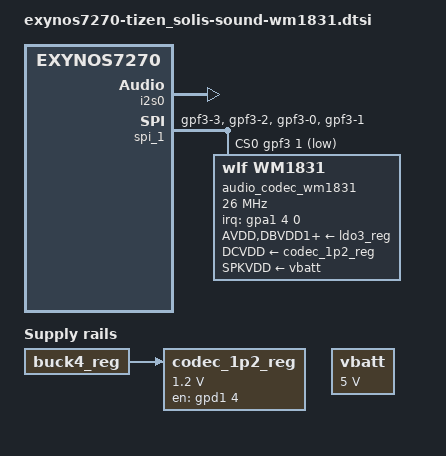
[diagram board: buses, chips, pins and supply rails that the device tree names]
/*
 * Samsung's Exynos7270 SoC sound device tree source
 *
 * Copyright (c) 2016 Samsung Electronics Co., Ltd.
 *		http://www.samsung.com
 *
 * This program is free software; you can redistribute it and/or modify
 * it under the terms of the GNU General Public License version 2 as
 * published by the Free Software Foundation.
*/

/ {
	s1403x: s1403x@14880000 {
		pinctrl-names = "default", "idle";
		pinctrl-0 = <&i2s_pmic_bus>;
		pinctrl-1 = <&i2s_pmic_bus_idle> ;
		status = "okay";
	};

	i2s0: i2s@148A0000 {
		samsung,amixer = <0>;
		status = "okay";
	};

	eax: eax {
		status = "disabled";
	};

	vbatt: fixedregulator@0 {
		compatible = "regulator-fixed";
		regulator-name = "VBATT";
		regulator-min-microvolt = <5000000>;
		regulator-max-microvolt = <5000000>;
		regulator-boot-on;
		regulator-always-on;
	};

	pinctrl@139B0000 {
		codec_rst: codec-rst {
			samsung,pins = "gpf1-0";
			samsung,pin-function = <1>; /* output */
			samsung,pin-pud = <3>; /* pull-up */
			samsung,pin-drv = <0>;
			samsung,pin-con-pdn = <1>; /* output1 pdn */
			samsung,pin-pud-pdn = <3>; /* pull-up pdn */
		};
		codec_1p2: codec-1p2 {
			samsung,pins = "gpd1-4";
			samsung,pin-function = <1>; /* output */
			samsung,pin-pud = <0>;
			samsung,pin-drv = <0>;
			samsung,pin-con-pdn = <3>; /* prev state during powerdown */
			samsung,pin-pud-pdn = <0>; /* no pull during powerdown */
		};
		codec_mclk1: codec-mclk1 {
			samsung,pins = "gpe0-0";
			samsung,pin-function = <2>;
			samsung,pin-pud = <0>;
			samsung,pin-drv = <2>;
			samsung,pin-con-pdn = <3>; /* prev state during powerdown */
			samsung,pin-pud-pdn = <0>; /* no pull during powerdown */
		};
		spi1_bus: spi1-bus {
			samsung,pins = "gpf3-3", "gpf3-2", "gpf3-0";
			samsung,pin-function = <2>; /* func */
			samsung,pin-pud = <3>; /* pull-up */
			samsung,pin-drv = <0>;
			samsung,pin-con-pdn = <2>; /* input during powerdown */
			samsung,pin-pud-pdn = <1>; /* pull-down during powerdown */
		};
		spi1_cs_0: spi1-cs-0 {
			samsung,pins = "gpf3-1";
			samsung,pin-function = <1>; /* output */
			samsung,pin-pud = <3>; /* pull-up */
			samsung,pin-drv = <0>;
			samsung,pin-con-pdn = <2>; /* input during powerdown */
			samsung,pin-pud-pdn = <1>; /* pull-down during powerdown */
		};

	};

	pinctrl@139F0000 {
		codec_irq: codec-irq {
			samsung,pins = "gpa1-4";
			samsung,pin-function = <0xf>; /* eint */
			samsung,pin-pud = <3>; /* pull-up */
		};
	};

	codec_1p2_reg: vdd_codec_1p2 {
		compatible = "regulator-fixed";
		regulator-name = "VDD_CODEC_1P2";
		regulator-min-microvolt = <1200000>;
		regulator-max-microvolt = <1200000>;
		gpio = <&gpd1 4 0>;
		startup-delay-us = <5000>;
		enable-active-high;
		vin-supply = <&buck4_reg>;
	};

	spi_1: spi@13900000 {
		status = "okay";
		cs-gpios = <&gpf3 1 1>;

		pinctrl-names = "default";
		pinctrl-0 = <&spi1_bus &spi1_cs_0>;

		audio_codec_wm1831: wm1831@0 {
			spi-max-frequency = <26000000>;

			compatible = "wlf,wm1831";
			reg = <0x0>;
			interrupts = <4 0 0>;
			interrupt-parent = <&gpa1>;
			interrupt-controller;
			#interrupt-cells = <2>;
			gpio-controller;
			#gpio-cells = <2>;

			pinctrl-names = "default";
			pinctrl-0 = <&codec_irq &codec_rst &codec_1p2>;

			AVDD-supply = <&ldo3_reg>;
			DBVDD1-supply = <&ldo3_reg>;
			CPVDD-supply = <&ldo3_reg>;
			DCVDD-supply = <&codec_1p2_reg>;
			SPKVDD-supply = <&vbatt>;
			MICVDD-supply = <&ldo3_reg>;

			wlf,reset = <&gpf1 0 0>;
			wlf,micbias1 = <1800 0 1 0 1>;
			wlf,dmic-ref = <1 0 0 0>;
			wlf,inmode = <2 0 0 0>;

			adsps {
				#address-cells = <1>;
				#size-cells = <0>;

				adsps@001200 {
					reg = <0x1200>;
					firmware {
						LVVE {
							wlf,wmfw-file = "lvve";
							wlf,bin-file = "lvve";
						};
						TRACE {
							wlf,wmfw-file = "trace";
							wlf,bin-file = "None";
							wlf,compr-caps = <1 6 0x4 1 8000 16000 48000>;
						};
					};
				};
				adsps@001300 {
					reg = <0x1300>;
					firmware {
						VOICECONTROL {
							wlf,wmfw-file = "ez2-control";
							wlf,bin-file = "ez2-control";
							wlf,compr-caps = <1 1 0x4 1 16000>;
						};
						RX_NBWB {
							wlf,wmfw-file = "rx-anc-nbwb";
							wlf,bin-file = "None";
						};
					};
				};
			};

			controller-data {
				cs-gpio = <&gpf3 1 1>;
				samsung,spi-feedback-delay = <1>;
			};
		};
	};

	audio_cp_dummy: cp_dummy {
			compatible = "samsung,cp_dummy";
			status = "okay";
	};

	audio_bt_dummy: bt_dummy {
			compatible = "samsung,bt_dummy";
			status = "okay";
	};

	sound {
		compatible = "samsung,universal7270-wm1831";
		samsung,audio-cpu = <&i2s0	/* primary */
					&audio_cp_dummy
					&audio_bt_dummy
					&i2s0	/* secondary */
					&audio_codec_wm1831
					>;
		samsung,audio-codec = <&audio_codec_wm1831
					&audio_codec_wm1831
					&audio_codec_wm1831
					&audio_codec_wm1831
					&audio_codec_wm1831>;

		samsung,auxdev = <&s1403x>;
		status = "okay";
		clock-names = "codec_26m_ap";
		clocks = <&clock 43>;
		pinctrl-names = "default";
		pinctrl-0 = <&codec_mclk1>;
	};
};
